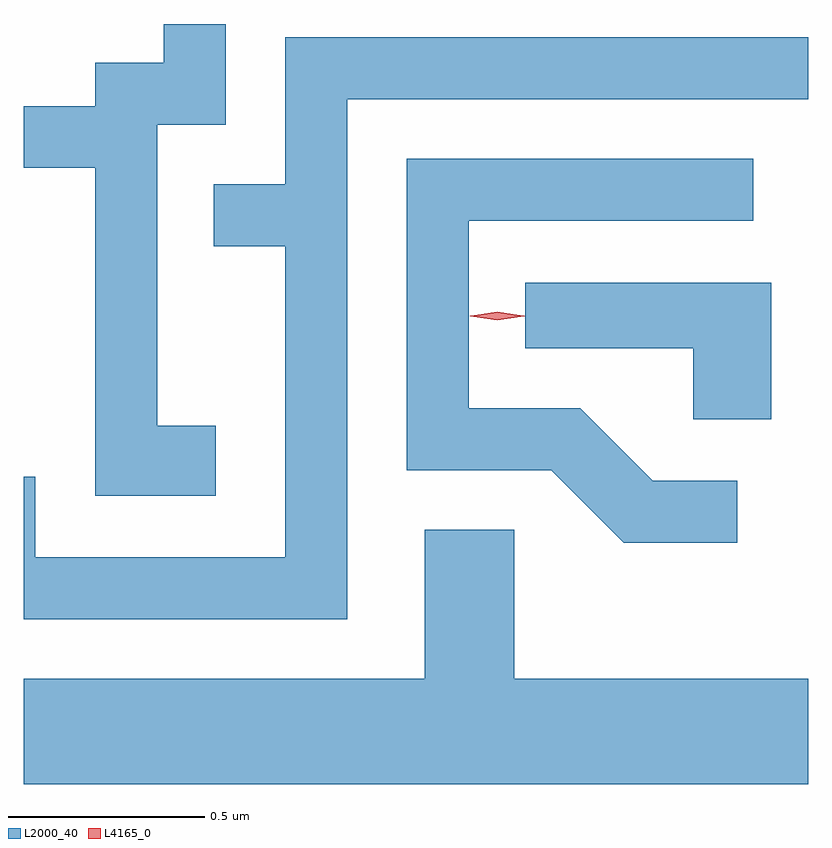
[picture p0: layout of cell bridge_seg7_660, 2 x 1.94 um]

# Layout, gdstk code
import gdstk
lib = gdstk.Library(unit=1e-6, precision=1e-09)
def P(c, l, *ps):  # polygons
    for p in ps: c.add(gdstk.Polygon(p, *l))
L2000_40 = (2000, 40)
L4165_0 = (4165, 0)

bridge_seg7_660 = lib.new_cell('bridge_seg7_660')
P(bridge_seg7_660, L2000_40, [(678.059,1695.249),(677.909,1695.249),(677.909,1696.016),(678.084,1696.016),(678.084,1696.273),(677.926,1696.273),(677.926,1696.174),(677.751,1696.174),(677.751,1696.064),(677.569,1696.064),(677.569,1695.906),(677.751,1695.906),(677.751,1695.071),(678.059,1695.071)],
  [(678.394,1696.081),(679.569,1696.081),(679.569,1696.239),(678.236,1696.239),(678.236,1695.864),(678.053,1695.864),(678.053,1695.706),(678.236,1695.706),(678.236,1694.914),(677.599,1694.914),(677.599,1695.119),(677.569,1695.119),(677.569,1694.756),(678.394,1694.756)],
  [(679.388,1695.109),(679.172,1695.109),(678.987,1695.294),(678.704,1695.294),(678.704,1695.771),(679.428,1695.771),(679.428,1695.929),(678.546,1695.929),(678.546,1695.136),(678.914,1695.136),(679.099,1694.951),(679.388,1694.951)],
  [(679.474,1695.614),(678.848,1695.614),(678.848,1695.446),(679.276,1695.446),(679.276,1695.266),(679.474,1695.266)],
  [(679.569,1694.604),(678.819,1694.604),(678.819,1694.984),(678.591,1694.984),(678.591,1694.604),(677.569,1694.604),(677.569,1694.336),(679.569,1694.336)])
P(bridge_seg7_660, L4165_0, [(678.776,1695.518),(678.707,1695.528),(678.707,1695.528),(678.707,1695.529),(678.776,1695.538),(678.845,1695.529),(678.846,1695.528),(678.845,1695.528)],
  [(678.776,1695.519),(678.71,1695.528),(678.709,1695.529),(678.71,1695.53),(678.776,1695.539),(678.842,1695.53),(678.843,1695.529),(678.842,1695.528)])

lib.write_gds('bridge_seg7_660.gds')
